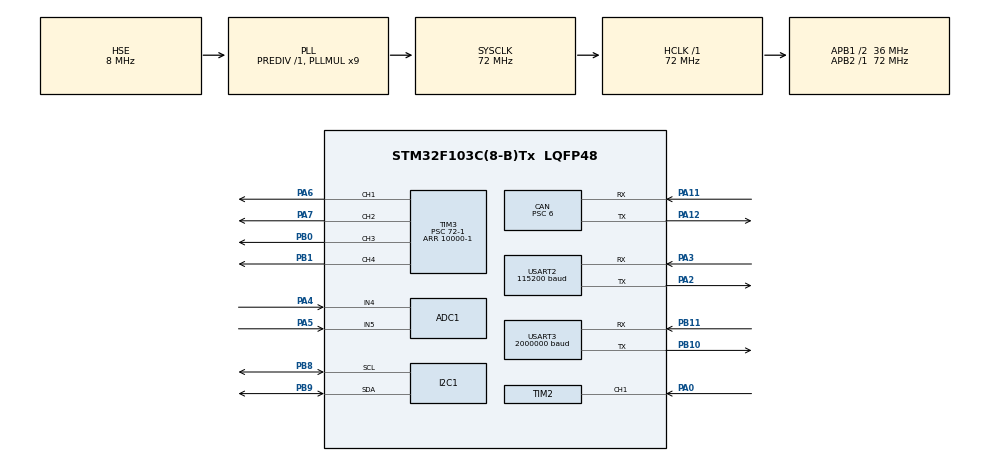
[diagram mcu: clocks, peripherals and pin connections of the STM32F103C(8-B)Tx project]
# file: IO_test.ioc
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ADC1.Channel-0\#ChannelRegularConversion=ADC_CHANNEL_4
ADC1.Channel-1\#ChannelRegularConversion=ADC_CHANNEL_5
ADC1.ContinuousConvMode=ENABLE
ADC1.NbrOfConversion=2
ADC1.NbrOfConversionFlag=1
ADC1.Rank-0\#ChannelRegularConversion=1
ADC1.Rank-1\#ChannelRegularConversion=2
ADC1.SamplingTime-0\#ChannelRegularConversion=ADC_SAMPLETIME_71CYCLES_5
ADC1.SamplingTime-1\#ChannelRegularConversion=ADC_SAMPLETIME_71CYCLES_5
ADC1.master=1
CAN.BS1=CAN_BS1_5TQ
CAN.BS2=CAN_BS2_6TQ
CAN.CalculateTimeBit=2000
CAN.CalculateTimeQuantum=166.66666666666669
CAN.Prescaler=6
Dma.ADC1.0.Direction=DMA_PERIPH_TO_MEMORY
Dma.ADC1.0.Instance=DMA1_Channel1
Dma.ADC1.0.MemDataAlignment=DMA_MDATAALIGN_WORD
Dma.ADC1.0.MemInc=DMA_MINC_ENABLE
Dma.ADC1.0.Mode=DMA_CIRCULAR
Dma.ADC1.0.PeriphDataAlignment=DMA_PDATAALIGN_WORD
Dma.ADC1.0.PeriphInc=DMA_PINC_DISABLE
Dma.ADC1.0.Priority=DMA_PRIORITY_LOW
Dma.Request0=ADC1
Mcu.Family=STM32F1
Mcu.Name=STM32F103C(8-B)Tx
Mcu.Package=LQFP48
NVIC.DMA1_Channel1_IRQn=true\:0\:0\:false\:false\:true\:false\:true
NVIC.PriorityGroup=NVIC_PRIORITYGROUP_4
NVIC.TIM2_IRQn=true\:0\:0\:false\:false\:true\:true\:true
NVIC.TIM3_IRQn=true\:0\:0\:false\:false\:true\:true\:true
NVIC.USB_LP_CAN1_RX0_IRQn=true\:0\:0\:false\:false\:true\:true\:true
PA0-WKUP.Signal=S_TIM2_CH1_ETR
PA11.Mode=Master
PA11.Signal=CAN_RX
PA12.Mode=Master
PA12.Signal=CAN_TX
PA13.Mode=Serial_Wire
PA13.Signal=SYS_JTMS-SWDIO
PA14.Mode=Serial_Wire
PA14.Signal=SYS_JTCK-SWCLK
PA2.Mode=Asynchronous
PA2.Signal=USART2_TX
PA3.Mode=Asynchronous
PA3.Signal=USART2_RX
PA4.Signal=ADCx_IN4
PA5.Signal=ADCx_IN5
PA6.Signal=S_TIM3_CH1
PA7.Signal=S_TIM3_CH2
PB0.Signal=S_TIM3_CH3
PB1.Signal=S_TIM3_CH4
PB10.Mode=Asynchronous
PB10.Signal=USART3_TX
PB11.Mode=Asynchronous
PB11.Signal=USART3_RX
PB8.Mode=I2C
PB8.Signal=I2C1_SCL
PB9.Mode=I2C
PB9.Signal=I2C1_SDA
PD0-OSC_IN.Mode=HSE-External-Oscillator
PD0-OSC_IN.Signal=RCC_OSC_IN
PD1-OSC_OUT.Mode=HSE-External-Oscillator
PD1-OSC_OUT.Signal=RCC_OSC_OUT
ProjectManager.HeapSize=0x200
ProjectManager.StackSize=0x400
ProjectManager.TargetToolchain=STM32CubeIDE
RCC.ADCPresc=RCC_ADCPCLK2_DIV6
RCC.AHBFreq_Value=72000000
RCC.APB1CLKDivider=RCC_HCLK_DIV2
RCC.APB1Freq_Value=36000000
RCC.APB1TimFreq_Value=72000000
RCC.APB2Freq_Value=72000000
RCC.APB2TimFreq_Value=72000000
RCC.HCLKFreq_Value=72000000
RCC.PLLMUL=RCC_PLL_MUL9
RCC.PLLSourceVirtual=RCC_PLLSOURCE_HSE
RCC.SYSCLKFreq_VALUE=72000000
RCC.SYSCLKSource=RCC_SYSCLKSOURCE_PLLCLK
RCC.USBFreq_Value=72000000
SH.ADCx_IN4.0=ADC1_IN4,IN4
SH.ADCx_IN5.0=ADC1_IN5,IN5
SH.S_TIM2_CH1_ETR.0=TIM2_CH1,Input_Capture1_from_TI1
SH.S_TIM3_CH1.0=TIM3_CH1,PWM Generation1 CH1
SH.S_TIM3_CH2.0=TIM3_CH2,PWM Generation2 CH2
SH.S_TIM3_CH3.0=TIM3_CH3,PWM Generation3 CH3
SH.S_TIM3_CH4.0=TIM3_CH4,PWM Generation4 CH4
TIM2.Channel-Input_Capture1_from_TI1=TIM_CHANNEL_1
TIM2.Period=0xffff
TIM2.Prescaler=72-1
TIM3.Channel-PWM\ Generation1\ CH1=TIM_CHANNEL_1
TIM3.Channel-PWM\ Generation2\ CH2=TIM_CHANNEL_2
TIM3.Channel-PWM\ Generation3\ CH3=TIM_CHANNEL_3
TIM3.Channel-PWM\ Generation4\ CH4=TIM_CHANNEL_4
TIM3.Period=10000-1
TIM3.Prescaler=72-1
TIM3.Pulse-PWM\ Generation1\ CH1=1500
TIM3.Pulse-PWM\ Generation2\ CH2=1500
TIM3.Pulse-PWM\ Generation3\ CH3=1000
TIM3.Pulse-PWM\ Generation4\ CH4=1000
USART2.BaudRate=115200
USART2.VirtualMode=VM_ASYNC
USART2.WordLength=WORDLENGTH_8B
USART3.BaudRate=2000000
USART3.VirtualMode=VM_ASYNC
VP_TIM2_VS_ClockSourceINT.Mode=Internal
VP_TIM3_VS_ClockSourceINT.Mode=Internal
board=custom

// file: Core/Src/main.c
/* USER CODE BEGIN Header */
/**
  ******************************************************************************
  * @file           : main.c
  * @brief          : Main program body
  ******************************************************************************
  * @attention
  *
  * <h2><center>&copy; Copyright (c) 2020 STMicroelectronics.
  * All rights reserved.</center></h2>
  *
  * This software component is licensed by ST under BSD 3-Clause license,
  * the "License"; You may not use this file except in compliance with the
  * License. You may obtain a copy of the License at:
  *                        opensource.org/licenses/BSD-3-Clause
  *
  ******************************************************************************
  */
/* USER CODE END Header */

#include "main.h"

/* USER CODE BEGIN Includes */
#include <string.h>
#include <stdio.h>
#include <math.h> // for pow function
#include <stdlib.h>// for abs function

/* USER CODE BEGIN 0 */

/* USER CODE END 0 */

/* USER CODE END Includes */

ADC_HandleTypeDef hadc1;
DMA_HandleTypeDef hdma_adc1;

CAN_HandleTypeDef hcan;

I2C_HandleTypeDef hi2c1;

TIM_HandleTypeDef htim2;
TIM_HandleTypeDef htim3;

UART_HandleTypeDef huart2;
UART_HandleTypeDef huart3;

/* USER CODE BEGIN PV */
CAN_FilterTypeDef sFilterConfig;
CAN_TxHeaderTypeDef pHeader;
CAN_RxHeaderTypeDef pRxHeader;

uint8_t aData[8] = {40, 41, 42, 43, 44, 45, 46, 47};
uint8_t rxData[8];
uint32_t pTxMailbox;
uint8_t error_code[8];

// 0x101 gneral control can1 rx
int16_t 		str_ang = 0;
uint8_t 		brk_ctrl = 0;
uint8_t 		thr_ctrl = 0;
uint8_t 		driving_mode = 0;
uint8_t 		target_gear = 0;
uint8_t 		shift_enable = 0;
uint8_t 		thr_enable = 0;
uint8_t 		brk_enable = 0;
uint8_t 		str_enable = 0;
int8_t          HWA_Diff_Ctrl = 0;
uint8_t         esp_mode = 0;

// value to store ADC
uint32_t		adc_reading[2];
float 			joystick_x = 0;
float           joystick_x_val;
float           x_mid_val;
float           x_max_val=0.30f;
float           x_min_val=0.30f;
int16_t         hwa_limit = 500;//units
int16_t         servo_out;
int16_t         servo_out_midpt = 1415;
int16_t         hwa_out = 0;
float           joystick_dead_band = 0.02;

float 			joystick_y = 0;
float 			joystick_y_val;
float 			y_mid_val;
float 			y_max_val = 0.30f;
float 			y_min_val = 0.30f;
int16_t 	    acc_limit = 500;
int16_t 		servo2_out;
int16_t         servo2_midpt = 1500;
int16_t 		servo2_out = 0;

//value for system time
uint16_t		sys_time_up;
uint32_t 		sys_time_ms;
uint32_t        current_time = 0;
uint32_t        hwa_out_zero_time = 0;
uint8_t         str_over_ride = 1;
uint32_t        received_0x101_time = 0;
uint8_t         receive_0x101_timeout = 1;
/* USER CODE END PV */

void SystemClock_Config(void);
static void MX_GPIO_Init(void);
static void MX_DMA_Init(void);
static void MX_CAN_Init(void);
static void MX_ADC1_Init(void);
static void MX_USART2_UART_Init(void);
static void MX_TIM2_Init(void);
static void MX_TIM3_Init(void);
static void MX_USART3_UART_Init(void);
static void MX_I2C1_Init(void);
/* USER CODE BEGIN PFP */
#ifdef __GNUC__

#define PUTCHAR_PROTOTYPE int __io_putchar(int ch)

PUTCHAR_PROTOTYPE
{

  //HAL_UART_Transmit(&huart2, (uint8_t*)&ch, 1, HAL_MAX_DELAY);
  HAL_UART_Transmit(&huart3, (uint8_t*)&ch, 1, HAL_MAX_DELAY);

  return ch;
}
#endif

void Read_joystick(){
	joystick_x = (float) adc_reading[0]/4096;
    joystick_x_val = joystick_x - x_mid_val;
        if(joystick_x_val > 0) {
            if(joystick_x_val > x_max_val) {
                x_max_val = joystick_x_val;
            }
            joystick_x_val = joystick_x_val/x_max_val;
            if(joystick_x_val>1.0f) {
                joystick_x_val = 1.0f;
            }
            joystick_x_val = pow(joystick_x_val,1.5f);
        } else {
            if(-joystick_x_val > x_min_val) {
                x_min_val = -joystick_x_val;
            }
            joystick_x_val = joystick_x_val/x_min_val;
            if(joystick_x_val<-1.0f) {
                joystick_x_val = -1.0f;
            }
            joystick_x_val = -pow(-joystick_x_val,1.5f);
        }

        if (fabs(joystick_x_val) > joystick_dead_band) { //steering out put
            hwa_out = joystick_x_val*hwa_limit;
        } else {
            hwa_out = 0;
        }

        if (str_over_ride || receive_0x101_timeout){
            servo_out = servo_out_midpt+hwa_out;
        }else{
            if (str_enable && esp_mode){
                servo_out = servo_out_midpt+HWA_Diff_Ctrl*4;
            }else{
                servo_out = servo_out_midpt+hwa_out;
            }
        }
        htim3.Instance ->CCR1 = servo_out;

        joystick_y = (float) adc_reading[1]/4096;
        joystick_y_val = joystick_y - y_mid_val;
        if(joystick_y_val > 0) {
        	if(joystick_y_val > y_max_val) {
        		y_max_val = joystick_y_val;
            }
            joystick_y_val = joystick_y_val/y_max_val;
            if(joystick_y_val>1.0f) {
            	joystick_y_val = 1.0f;
            }
            joystick_y_val = pow(joystick_y_val,1.5f);
        } else {
        	if(-joystick_y_val > y_min_val) {
          		y_min_val = -joystick_y_val;
            }
            joystick_y_val = joystick_y_val/y_min_val;
            if(joystick_y_val<-1.0f) {
            	joystick_y_val = -1.0f;
            }
            joystick_y_val = -pow(-joystick_y_val,1.5f);
        }

        if (fabs(joystick_y_val) > joystick_dead_band) { //steering out put
          	servo2_out = servo2_midpt + joystick_y_val*acc_limit;
        } else {
          	servo2_out = servo2_midpt;
        }

        htim3.Instance ->CCR2 = servo2_out;

        //printf("adc0: %i adc1:%i\r\n",servo_out,servo2_out);
        //printf("sys_time_ms:%i\r\n",sys_time_ms);

}

void joystick_init(void){
	printf("calibrating middle point\n");
	//printf("adc_read: %i %i\r\n", adc_reading[0], adc_reading[1]);
	for(int i=0; i<100; i++) {
		joystick_x = (float) adc_reading[0]/4096;
		joystick_y = (float) adc_reading[1]/4096;
	    x_mid_val = x_mid_val*0.8f + joystick_x*0.2f;
	    y_mid_val = y_mid_val*0.8f + joystick_y*0.2f;
	    HAL_Delay(10);
	}
	printf("mid_x:%.4f mid_y:%.4f \n",x_mid_val,y_mid_val);
}

void CAN_BUS_init(void){
	// can bus filter setting
	pHeader.DLC = 8;
	pHeader.IDE = CAN_ID_STD;
	pHeader.RTR = CAN_RTR_DATA;
	pHeader.StdId = 0x321;

	sFilterConfig.FilterFIFOAssignment=CAN_FILTER_FIFO0;
	sFilterConfig.FilterIdHigh=0x245<<5;
	sFilterConfig.FilterIdLow=0;
	sFilterConfig.FilterMaskIdHigh=0;
	sFilterConfig.FilterMaskIdLow=0;
	sFilterConfig.FilterScale=CAN_FILTERSCALE_32BIT;
	sFilterConfig.FilterActivation=CAN_FILTER_ENABLE;

	HAL_CAN_ConfigFilter(&hcan, &sFilterConfig);
    HAL_CAN_Start(&hcan);
	HAL_CAN_ActivateNotification(&hcan, CAN_IT_RX_FIFO0_MSG_PENDING);
	HAL_CAN_AddTxMessage(&hcan, &pHeader, aData, &pTxMailbox);
	  //while(HAL_CAN_IsTxMessagePending(&hcan, &pTxMailbox));
}

// PPM_IN SIGNAL READ find time between two rising edges
int32_t		ic_value1 = 0;
int32_t 	ic_value2 = 0;
int32_t 	ic_value_difference = 0;
uint16_t 	channel_pulse[8] = {0,0,0,0,0,0,0,0};
uint8_t		channel_number = 0;
void HAL_TIM_IC_CaptureCallback(TIM_HandleTypeDef *htim){
	if(htim->Channel == HAL_TIM_ACTIVE_CHANNEL_1){ // if the source is channel 1

		ic_value2 = HAL_TIM_ReadCapturedValue(htim, TIM_CHANNEL_1);
		ic_value_difference = ic_value2-ic_value1;
		ic_value1 = ic_value2;

		if (ic_value2 > ic_value1){
			ic_value_difference = ic_value2-ic_value1;
		}
		else if(ic_value2 < ic_value1){// you know
			ic_value_difference = ((0xffff-ic_value1)+ic_value2)+1;
		}
		else{
			//printf("PPM_error\n\r");
			Error_Handler();
		}
			// process captured time
		if (ic_value_difference > 6000){
			channel_number = 0;
			//printf("%i %i %i %i %i %i %i %i\r\n",channel_pulse[0],channel_pulse[1],channel_pulse[2],channel_pulse[3],channel_pulse[4],channel_pulse[5],channel_pulse[6],channel_pulse[7]);
			//printf("%i\r\n", channel_pulse[0]);
		}else if(ic_value_difference > 800){
			if(channel_number<9){
				channel_pulse[channel_number] = ic_value_difference;
				channel_number ++;
			}
		}else{
			channel_number ++;
		}
	}
}

// MPU6050IMU
int16_t 	Accel_X_RAW;
int16_t 	Accel_Y_RAW;
int16_t 	Accel_Z_RAW;
int16_t 	Gyro_X_RAW;
int16_t 	Gyro_Y_RAW;
int16_t 	Gyro_Z_RAW;
float 		Accel_X_CAL,Accel_Y_CAL,Accel_Z_CAL,Gyro_X_CAL,Gyro_Y_CAL,Gyro_Z_CAL;
float 		Ax,Ay,Az,Gx,Gy,Gz,pitch_a,roll_a,yaw_a,pitch_est,roll_est,yaw_est,pitch_ino,roll_ino,yaw_ino;
int			mpu6050_ini = 0;
float 		deg2rad = 0.0174532925199433;
float 		rad2deg = 57.2957795130823;
float		delta_time = 0.01;
float 		pitch_est_rad,roll_est_rad,yaw_est_rad,sin_roll,cos_roll,sin_pitch,cos_pitch,pitch_a_rad,roll_a_rad;
float 		Gz_rad, Gx_rad, Gy_rad;
#define MPU6050_ADDR 0xD0
#define SMPLRT_DIV_REG 0x19
#define CONFIG_REG 0x1A
#define GYRO_CONFIG_REG 0x1B
#define ACCEL_CONFIG_REG 0x1C
#define ACCEL_XOUT_H_REG 0x3B
#define TEMP_OUT_H_REG 0x41
#define GYRO_XOUT_H_REG 0x43
#define PWR_MGMT_1_REG 0x6B
#define WHO_AM_I_REG 0x75

void MPU6050_Read_Accel(void){
	uint8_t Rec_Data[6];
	//Read 6 byte of data starting from accel_xout_h register
	HAL_I2C_Mem_Read(&hi2c1, MPU6050_ADDR, ACCEL_XOUT_H_REG, 1, Rec_Data, 6, 1000);
	Accel_X_RAW = (int16_t)(Rec_Data[0] << 8 | Rec_Data[1]);
	Accel_Y_RAW = (int16_t)(Rec_Data[2] << 8 | Rec_Data[3]);
	Accel_Z_RAW = (int16_t)(Rec_Data[4] << 8 | Rec_Data[5]);
	Ax = (float)Accel_X_RAW/4096.0;
	Ay = (float)Accel_Y_RAW/4096.0;
	Az = (float)Accel_Z_RAW/4096.0;
}
void MPU6050_Read_Gyro(void){
	uint8_t Rec_Data[6];
	//Read 6 byte of data starting from accel_xout_h register
	HAL_I2C_Mem_Read(&hi2c1, MPU6050_ADDR, GYRO_XOUT_H_REG, 1, Rec_Data, 6, 1000);
	Gyro_X_RAW = (int16_t)(Rec_Data[0] << 8 | Rec_Data[1]);
	Gyro_Y_RAW = (int16_t)(Rec_Data[2] << 8 | Rec_Data[3]);
	Gyro_Z_RAW = (int16_t)(Rec_Data[4] << 8 | Rec_Data[5]);
	Gx = (float)Gyro_X_RAW/65.5;
	Gy = (float)Gyro_Y_RAW/65.5;
	Gz = (float)Gyro_Z_RAW/65.5;
}

void MPU6050_Init(void ){//MPU6050_START
	uint8_t check, Data;
	//check device ID WHO_AM_I
	HAL_I2C_Mem_Read(&hi2c1, MPU6050_ADDR, WHO_AM_I_REG, 1, &check, 1, 1000);
	if (check == 104){
		printf("mpu6050 check passed! \r\n");
		printf("reset mpu6050...\r\n");
		Data = 0x80;// power management register 0x6b we should write 0x80 to reset the sensor
		HAL_I2C_Mem_Write(&hi2c1, MPU6050_ADDR, PWR_MGMT_1_REG, 1, &Data, 1, 1000);
		HAL_Delay(100);

		printf("set clock to 8khz and wake up mpu6050...\r\n");
		Data = 0;// power management register 0x6b we should write all 0's to wake the sensor up
		HAL_I2C_Mem_Write(&hi2c1, MPU6050_ADDR, PWR_MGMT_1_REG, 1, &Data, 1, 1000);
		HAL_Delay(100);

		// set low pass filter
		printf("set low pass filter on mpu6050...\r\n");
		Data = 0x01; //Bandwidth(Hz) 0=260A_256G 1=184A_188G 2=94A_98G 3=44A_42G 4=21A_20G 5=10A_10G 6=5A_5G
		HAL_I2C_Mem_Write(&hi2c1, MPU6050_ADDR, CONFIG_REG, 1, &Data, 1, 1000);

		// set data rate of 8khz by writing SMPLRT_DIV register
		printf("set sample rate to 8khz on mpu6050...\r\n");
		Data = 0x00; // 7=1khz  0=8khz
		HAL_I2C_Mem_Write(&hi2c1, MPU6050_ADDR, SMPLRT_DIV_REG, 1, &Data, 1, 1000);

		printf("set accelerometer to 8g on mpu6050...\r\n");
		// set accelerometer configuration in ACCEL_CONFIG Register
		// XA_ST=0, YA_ST=0, ZA_ST=0, FS_SEL=0 -> +/- 2g , 10 = 8g
		Data = 0x10;
		HAL_I2C_Mem_Write(&hi2c1, MPU6050_ADDR, ACCEL_CONFIG_REG, 1, &Data, 1, 1000);

		printf("set gyroscope to 500deg/sec on mpu6050...\r\n");
		// set Gyroscopic configuration in GYRO_CONFIG Register
		// XG_ST,YG_ST,ZG_ST=0, FS_SEL=0 -> +/- 250 Deg/s , 8=500deg/s
		Data = 0x08;
		HAL_I2C_Mem_Write(&hi2c1, MPU6050_ADDR, GYRO_CONFIG_REG, 1, &Data, 1, 1000);

		printf("calibrating IMU in 2...\r\n");
		HAL_Delay(1000);
		printf("calibrating IMU in 1...\r\n");
		HAL_Delay(1000);
		printf("calibrating IMU in 0...\r\n");
		printf("start calibration ... \r\n");

		for(int i=0; i<2000; i++){
			MPU6050_Read_Accel();
			MPU6050_Read_Gyro();
			Accel_X_CAL += Ax;
			Accel_Y_CAL += Ay;
			Accel_Z_CAL += Az;
			Gyro_X_CAL += Gx;
			Gyro_Y_CAL += Gy;
			Gyro_Z_CAL += Gz;
			HAL_Delay(1);
		}
		Accel_X_CAL /= 2000;
	    Accel_Y_CAL /= 2000;
	    Accel_Z_CAL /= 2000;
	    Gyro_X_CAL /= 2000;
	    Gyro_Y_CAL /= 2000;
	    Gyro_Z_CAL /= 2000;

	    printf("calibration finished! \r\n");
	    printf("ax:%f ay:%f az:%f gx:%f gy:%f gz:%f\r\n",Accel_X_CAL,Accel_Y_CAL,Accel_Z_CAL,Gyro_X_CAL,Gyro_Y_CAL,Gyro_Z_CAL);

//	    pitch_est = -atan2(Accel_X_CAL,Accel_Z_CAL)*rad2deg;
//	    roll_est = atan2(Accel_Y_CAL,Accel_Z_CAL)*rad2deg;
//	    pitch_est_rad = -atan2(Accel_X_CAL,Accel_Z_CAL);
//	    roll_est_rad = atan2(Accel_Y_CAL,Accel_Z_CAL);

	    pitch_est_rad = -atan(Accel_X_CAL/sqrt(Accel_Z_CAL*Accel_Z_CAL + Accel_Y_CAL*Accel_Y_CAL));
	    roll_est_rad = atan(Accel_Y_CAL/sqrt(Accel_Z_CAL*Accel_Z_CAL + Accel_X_CAL*Accel_X_CAL));

	    yaw_est_rad = 0;

	    pitch_est = pitch_est_rad*rad2deg;
	    roll_est = roll_est_rad*rad2deg;
	    yaw_est = yaw_est_rad*rad2deg;

	    printf("PE:%f PR:%f\r\n",pitch_est,roll_est);

		mpu6050_ini = 1;
	}else{
		printf("problem checking mpu6050 \r\n");
		mpu6050_ini = 0;
	}
}
// ducted drone output
int16_t		pitch_input,yaw_input,throttle_input,roll_input;
int16_t   	fin_left_out, fin_right_out, motor_left_out, motor_right_out;
int16_t		fin_left_trim = -25;
int16_t 	fin_right_trim = -25;

// gain for dual
/*
int16_t 	throttle_idel = 1100;
float 		gain_yaw_p = -1;
float 		gain_yaw_d = 1;
float 		gain_pitch_p = -2.5;
float 		gain_pitch_d = 2.5;
float 		gain_roll_p = 7.5;
float 		gain_roll_d = -1;
*/

// gain for quad
int16_t 	throttle_idel = 1200;
float 		gain_yaw_p = -3.0;
float 		gain_yaw_d = 1.25;
float 		gain_pitch_p = -1.20;
float 		gain_pitch_d = 1.25;
float 		gain_roll_p = 1.20;
float 		gain_roll_d = -1.25;

int16_t 	yaw_ctrl, pitch_ctrl, roll_ctrl;
float 		yaw_tar,pitch_tar,roll_tar;
float 		yaw_err,pitch_err,roll_err;

void Drone_Control_duel(void){//DRONE_CONTROL

	pitch_input = channel_pulse[2]-1500;
	yaw_input = -channel_pulse[3] + 1500;
	throttle_input = channel_pulse[0];
	roll_input = channel_pulse[1] - 1500;

	pitch_tar = (float) pitch_input/10;
	roll_tar = (float) roll_input/10;
	if (abs(yaw_input)>100)
		yaw_tar += (float) yaw_input/1000;
	if (yaw_tar < -180)
		yaw_tar += 360;
	if (yaw_tar > 180)
		yaw_tar -= 360;

	yaw_err = yaw_tar - yaw_est;
	// course difference
	yaw_err = fmod(yaw_err,360);
	if (yaw_err < -180)
		yaw_err += 360;

	if (yaw_err > 180)
		yaw_err -= 360;

	pitch_err = pitch_tar - pitch_est;
	roll_err = roll_tar - roll_est;

	yaw_ctrl = (int16_t) (Gz*gain_yaw_d + yaw_err*gain_yaw_p);
	pitch_ctrl = (int16_t) (pitch_err * gain_pitch_p + Gy*gain_pitch_d);
	roll_ctrl = (int16_t) (roll_err*gain_roll_p + Gx*gain_roll_d);

	fin_left_out = 1500 + pitch_ctrl - fin_left_trim + yaw_ctrl;
	fin_right_out = 1500 - pitch_ctrl + fin_right_trim + yaw_ctrl;

	if (fin_left_out>2000)
		fin_left_out = 2000;
	if (fin_left_out<1000)
		fin_left_out = 1000;
	if (fin_right_out > 2000)
		fin_right_out = 2000;
	if (fin_right_out < 1000)
		fin_right_out =1000;

	motor_left_out = throttle_input - roll_ctrl;
	motor_right_out = throttle_input + roll_ctrl;

	if (channel_pulse[4] > 1600){
		if (motor_left_out>2000)
			motor_left_out = 2000;
		if (motor_left_out<throttle_idel)
			motor_left_out = throttle_idel;
		if (motor_right_out > 2000)
			motor_right_out = 2000;
		if (motor_right_out < throttle_idel)
			motor_right_out =throttle_idel;
	}else{
		motor_left_out = 1000;
		motor_right_out =1000;
	}

	htim3.Instance ->CCR1 = fin_left_out;
	htim3.Instance ->CCR2 = fin_right_out;
	htim3.Instance ->CCR3 = motor_left_out;
	htim3.Instance ->CCR4 = motor_right_out;

	//printf("ML:%i,MR:%i\r\n",motor_left_out,motor_right_out);
	//printf("pt:%i pr:%i p%i\r\n", (int16_t)pitch_tar, (int16_t)pitch_err, (int16_t)pitch_est);
	//printf("yi:%i yt:%i ti:%i\r\n",yaw_input,(int16_t)yaw_tar,throttle_input);
	//printf("yt:%i y:%i ye:%i\r\n",(int16_t)yaw_tar,(int16_t)yaw_est,(int16_t)yaw_err);
	//printf("pt:%.2f rt:%.2f yt:%.2f\r\n", pitch_tar, roll_tar, yaw_tar);
	//printf("pi:%i ri:%i yi:%i\r\n", pitch_input, roll_input, yaw_input);
	//printf("yc:%i pc:%i rc:%i\r\n",yaw_ctrl, pitch_ctrl, roll_ctrl);
	//printf("ti:%i ri:%i\r\n",channel_pulse[0], channel_pulse[1]);
	//printf("pi:%i yi:%i Pi:%.2f Ro:%.2f Gy:%.2f Gx:%.2f Gz:%f\r\n",channel_pulse[2], channel_pulse[3],pitch_est,roll_est,Gy,Gx,Gz);
	//printf("pi:%i yi:%i\r\n",channel_pulse[2], channel_pulse[3]);
	//printf("Ro:%.2f Gy:%.2f Gx:%.2f Gy:%.2f Gz:%f\r\n",pitch_est,roll_est,Gy,Gx,Gz);
	//printf("Ro:%.2f Gy:%.2f\r\n",pitch_est,roll_est);
	//printf("Gx:%.2f Gy:%.2f Gz:%f\r\n",Gy,Gx,Gz);
	//printf("pi:%i yi:%i Pi:%.2f Ro:%.2f\r\n",channel_pulse[2], channel_pulse[3],pitch_est,roll_est);

	//printf("PE:%.2f RE:%.2f\r\n", pitch_est, roll_est);
	//htim3.Instance ->CCR3 = pitch_input;
	//htim3.Instance ->CCR4 = pitch_input;
}
int16_t   	motor_quad_1, motor_quad_2, motor_quad_3, motor_quad_4;

void Drone_Control_quad(void){//DRONE_CONTROL
	// FR SKY
	pitch_input = channel_pulse[2]-1500;
	yaw_input = -channel_pulse[3] + 1500;
	throttle_input = channel_pulse[0];
	roll_input = channel_pulse[1] - 1500;

	// FS
	//pitch_input = channel_pulse[1]-1500;
	//yaw_input = -channel_pulse[3] + 1500;
	//throttle_input = channel_pulse[2];
	//roll_input = channel_pulse[0] - 1500;

	pitch_tar = (float) pitch_input/10;
	roll_tar = (float) roll_input/10;
	if (abs(yaw_input)>100)
		yaw_tar += (float) yaw_input/1000;
	if (yaw_tar < -180)
		yaw_tar += 360;
	if (yaw_tar > 180)
		yaw_tar -= 360;

	yaw_err = yaw_tar - yaw_est;
	// course difference
	yaw_err = fmod(yaw_err,360);
	if (yaw_err < -180)
		yaw_err += 360;

	if (yaw_err > 180)
		yaw_err -= 360;

	pitch_err = pitch_tar - pitch_est;
	roll_err = roll_tar - roll_est;

	yaw_ctrl = (int16_t) (Gz*gain_yaw_d + yaw_err*gain_yaw_p);
	pitch_ctrl = (int16_t) (pitch_err * gain_pitch_p + Gy*gain_pitch_d);
	roll_ctrl = (int16_t) (roll_err*gain_roll_p + Gx*gain_roll_d);

	motor_quad_1 = throttle_input + pitch_ctrl + roll_ctrl - yaw_ctrl;
	motor_quad_2 = throttle_input + pitch_ctrl - roll_ctrl + yaw_ctrl;
	motor_quad_3 = throttle_input - pitch_ctrl - roll_ctrl - yaw_ctrl;
	motor_quad_4 = throttle_input - pitch_ctrl + roll_ctrl + yaw_ctrl;

	if (channel_pulse[4] > 1600){
		if (motor_quad_1>2000)
			motor_quad_1 = 2000;
		if (motor_quad_1<throttle_idel)
			motor_quad_1 = throttle_idel;
		if (motor_quad_2 > 2000)
			motor_quad_2 = 2000;
		if (motor_quad_2 < throttle_idel)
			motor_quad_2 =throttle_idel;
		if (motor_quad_3 > 2000)
			motor_quad_3 = 2000;
		if (motor_quad_3 < throttle_idel)
			motor_quad_3 =throttle_idel;
		if (motor_quad_4 > 2000)
			motor_quad_4 = 2000;
		if (motor_quad_4 < throttle_idel)
			motor_quad_4 =throttle_idel;
	}else{
		yaw_tar = yaw_est;
		motor_quad_1 = 1000;
		motor_quad_2 = 1000;
		motor_quad_3 = 1000;
		motor_quad_4 = 1000;
	}

	htim3.Instance ->CCR1 = motor_quad_1;
	htim3.Instance ->CCR2 = motor_quad_2;
	htim3.Instance ->CCR3 = motor_quad_3;
	htim3.Instance ->CCR4 = motor_quad_4;

	//printf("Ti:%i Ri:%i Pi:%i Yi:%i Sw%i\r\n", throttle_input, roll_input, pitch_input, yaw_input,channel_pulse[4]);

	//printf("ML:%i,MR:%i\r\n",motor_left_out,motor_right_out);
	//printf("pt:%i pr:%i p%i\r\n", (int16_t)pitch_tar, (int16_t)pitch_err, (int16_t)pitch_est);
	//printf("yi:%i yt:%i ti:%i\r\n",yaw_input,(int16_t)yaw_tar,throttle_input);
	//printf("yt:%i y:%i ye:%i\r\n",(int16_t)yaw_tar,(int16_t)yaw_est,(int16_t)yaw_err);
	//printf("pt:%.2f rt:%.2f yt:%.2f\r\n", pitch_tar, roll_tar, yaw_tar);
	//printf("pi:%i ri:%i yi:%i\r\n", pitch_input, roll_input, yaw_input);
	//printf("yc:%i pc:%i rc:%i\r\n",yaw_ctrl, pitch_ctrl, roll_ctrl);
	//printf("ti:%i ri:%i\r\n",channel_pulse[0], channel_pulse[1]);
	//printf("pi:%i yi:%i Pi:%.2f Ro:%.2f Gy:%.2f Gx:%.2f Gz:%f\r\n",channel_pulse[2], channel_pulse[3],pitch_est,roll_est,Gy,Gx,Gz);
	//printf("pi:%i yi:%i\r\n",channel_pulse[2], channel_pulse[3]);
	//printf("Ro:%.2f Gy:%.2f Gx:%.2f Gy:%.2f Gz:%f\r\n",pitch_est,roll_est,Gy,Gx,Gz);
	//printf("Ro:%.2f Gy:%.2f\r\n",pitch_est,roll_est);
	//printf("Gx:%.2f Gy:%.2f Gz:%f\r\n",Gy,Gx,Gz);
	//printf("pi:%i yi:%i Pi:%.2f Ro:%.2f\r\n",channel_pulse[2], channel_pulse[3],pitch_est,roll_est);

	//printf("PE:%.2f RE:%.2f\r\n", pitch_est, roll_est);
	//htim3.Instance ->CCR3 = pitch_input;
	//htim3.Instance ->CCR4 = pitch_input;
}

#define TFLUNA_ADDR 0x20
#define TFLUNA_DIST_LOW 0x00
#define TFLUNA_DIST_HIGH 0x01
#define TFLUNA_AMP_LOW 0x02
#define TFLUNA_AMP_HIGH 0x03
#define TFLUNA_TEMP_LOW 0x00
#define TFLUNA_TEMP_HIGH 0x00

uint8_t 	dist_low = 0;
uint8_t 	dist_high = 0;
uint16_t 	dist_tfluna = 0;
uint32_t 	dist_measure_devider = 50;
//uint16_t 	dist_tfluna_1 = 0;
float 		dist_spd = 0;
uint32_t 	prev_time_tf = 0;
uint32_t 	delta_time_tf = 0;
float	 	delta_dist = 0;
float 		dist_spd_lowpass = 0;
float 		dist_tfluna_f = 0;
float 		dist_tfluna_f1 = 0;
int			tf_luna_ini = 0;

void ReadTF_Luna_init(void){
	HAL_I2C_Mem_Read(&hi2c1, TFLUNA_ADDR, TFLUNA_DIST_LOW, 1, &dist_low, 1, 1000);
	HAL_I2C_Mem_Read(&hi2c1, TFLUNA_ADDR, TFLUNA_DIST_HIGH, 1, &dist_high, 1, 1000);
	dist_tfluna = (uint16_t)dist_high<<8 | (dist_low);
	dist_tfluna_f1 = (float)dist_tfluna/100;
	if(dist_tfluna != 0)
		tf_luna_ini = 1;
	printf("TF_Luna initialization complete: %.2f \r\n", dist_tfluna_f1);
}

void ReadTF_Luna(void){
	delta_time_tf = sys_time_ms - prev_time_tf;
	HAL_I2C_Mem_Read(&hi2c1, TFLUNA_ADDR, TFLUNA_DIST_LOW, 1, &dist_low, 1, 1000);
	HAL_I2C_Mem_Read(&hi2c1, TFLUNA_ADDR, TFLUNA_DIST_HIGH, 1, &dist_high, 1, 1000);
	dist_tfluna = (uint16_t)dist_high<<8 | (dist_low);
	dist_tfluna_f = (float)dist_tfluna/100;
	//printf("Dis:%i Lo:%i Hi:%i\r\n",dist_tfluna,dist_low,dist_high);
	delta_dist = (dist_tfluna_f - dist_tfluna_f1);
	dist_spd = delta_dist/(float)delta_time_tf*1000;
	dist_spd_lowpass = dist_spd_lowpass*0.9 + dist_spd*0.1;
	//printf("d:%.2f s1:%.2f\r\n",dist_tfluna_f,dist_spd_lowpass);
	//printf("d:%.2f s:%.2f s1:%.2f\r\n",dist_tfluna_f,dist_spd,dist_spd_lowpass);
	//printf("Dis:%i Spd:%.2f\r\n",dist_tfluna,dist_spd);
	prev_time_tf = sys_time_ms;
	dist_tfluna_f1 = dist_tfluna_f;
}

/*
#define VL53L1_ADDR 							0x52// 0x29
#define VL53L1_IDENTIFICATION__MODEL_ID			0x010F

int VL53L1_Write(uint8_t *pdata, uint32_t count) {
    int status;

    status = HAL_I2C_Master_Transmit(&hi2c1, VL53L1_ADDR, pdata, count, 1000);
    if (status) {
        //VL6180x_ErrLog("I2C error 0x%x %d len", dev->I2cAddr, len);
        //XNUCLEO6180XA1_I2C1_Init(&hi2c1);
    }
    return status;
}

int VL53L1_Read(uint8_t *pdata, uint32_t count) {
    int status;

    status = HAL_I2C_Master_Receive(&hi2c1, VL53L1_ADDR|1, pdata, count, 1000);
    if (status) {
        //VL6180x_ErrLog("I2C error 0x%x %d len", dev->I2cAddr, len);
        //XNUCLEO6180XA1_I2C1_Init(&hi2c1);
    }
    return status;
}

void VL53L1X_init(void){
	uint8_t 	Rec_Data[2];
	uint8_t 	Trs_Data[2] = {0x01,0x0F};
	VL53L1_Write(Trs_Data, 2);
	VL53L1_Read(Rec_Data,2);

	//HAL_I2C_Mem_Read(&hi2c1, VL53L1_ADDR, Trs_Data, 2, Rec_Data, 2, 1000);
	printf("v1:%i v2:%i\r\n",Rec_Data[0],Rec_Data[1]);
}
*/

/* USER CODE END PFP */

int main(void)
{

  /* MCU Configuration--------------------------------------------------------*/

  /* Reset of all peripherals, Initializes the Flash interface and the Systick. */
  HAL_Init();

  /* Configure the system clock */
  SystemClock_Config();

  /* Initialize all configured peripherals */
  MX_GPIO_Init();
  MX_DMA_Init();
  MX_CAN_Init();
  MX_ADC1_Init();
  MX_USART2_UART_Init();
  MX_TIM2_Init();
  MX_TIM3_Init();
  MX_USART3_UART_Init();
  MX_I2C1_Init();
  /* USER CODE BEGIN 2 */
  HAL_Delay(1000);
  MPU6050_Init();//MPU6050_START
  ReadTF_Luna_init();//tf_luna start
  //VL53L1X_init();//VL53L1X start

  CAN_BUS_init();//setup filter and send a test message

  //HAL_TIM_Base_Start_IT(&htim2);//PPM_IN
  HAL_TIM_IC_Start_IT(&htim2, TIM_CHANNEL_1);
//  HAL_TIM_PWM_Start(&htim2, TIM_CHANNEL_2);
//  HAL_TIM_PWM_Start(&htim2, TIM_CHANNEL_1);
  HAL_TIM_Base_Start_IT(&htim3);//PWM_OUT
  HAL_TIM_PWM_Start(&htim3, TIM_CHANNEL_1);
  HAL_TIM_PWM_Start(&htim3, TIM_CHANNEL_2);
  HAL_TIM_PWM_Start(&htim3, TIM_CHANNEL_3);
  HAL_TIM_PWM_Start(&htim3, TIM_CHANNEL_4);

  HAL_ADC_Start_DMA(&hadc1, adc_reading, 2);
  // if using 3 channels set adc_reading as an array like this -> adc_reading[3];
  //HAL_ADC_Start_DMA(&hadc1, adc_reading, 3);
  joystick_init();//calibration find mid point, this is after ADC DMA initialization

  HAL_UART_Transmit(&huart3, aData, 8, 1000);
  printf("Hello, world!\r\n");
  printf("Hello, world!\r\n");
  printf("Hello, world!\r\n");
  HAL_UART_Transmit(&huart3, aData, 8, 1000);//test uart 3

  //htim2.Instance ->CCR2 = servo_out_midpt;

  /* USER CODE END 2 */

  /* Infinite loop */
  /* USER CODE BEGIN WHILE */
  while (1)
  {

	  //printf("adc0: %i adc1:%i\r\n",adc_reading[0],adc_reading[1]);

	  /*
	  current_time = sys_time_ms;

	  if (hwa_out != 0){
		  hwa_out_zero_time = current_time;
	  }
	  if (current_time - hwa_out_zero_time > 2000){// 2,000 = 2seconds
		  str_over_ride = 0;
	  }else{
		  str_over_ride = 1;
	  }

	  if (current_time - received_0x101_time > 500){// 500 = 0.5second
		  receive_0x101_timeout = 1;
	  }else{
		  receive_0x101_timeout = 0;
	  }
	  */
    /* USER CODE END WHILE */

  }
}

void SystemClock_Config(void)
{
  RCC_OscInitTypeDef RCC_OscInitStruct = {0};
  RCC_ClkInitTypeDef RCC_ClkInitStruct = {0};
  RCC_PeriphCLKInitTypeDef PeriphClkInit = {0};

  /** Initializes the CPU, AHB and APB busses clocks
  */
  RCC_OscInitStruct.OscillatorType = RCC_OSCILLATORTYPE_HSE;
  RCC_OscInitStruct.HSEState = RCC_HSE_ON;
  RCC_OscInitStruct.HSEPredivValue = RCC_HSE_PREDIV_DIV1;
  RCC_OscInitStruct.HSIState = RCC_HSI_ON;
  RCC_OscInitStruct.PLL.PLLState = RCC_PLL_ON;
  RCC_OscInitStruct.PLL.PLLSource = RCC_PLLSOURCE_HSE;
  RCC_OscInitStruct.PLL.PLLMUL = RCC_PLL_MUL9;
  if (HAL_RCC_OscConfig(&RCC_OscInitStruct) != HAL_OK)
  {
	printf("RCC_error_1\n\r");
    Error_Handler();
  }
  /** Initializes the CPU, AHB and APB busses clocks
  */
  RCC_ClkInitStruct.ClockType = RCC_CLOCKTYPE_HCLK|RCC_CLOCKTYPE_SYSCLK
                              |RCC_CLOCKTYPE_PCLK1|RCC_CLOCKTYPE_PCLK2;
  RCC_ClkInitStruct.SYSCLKSource = RCC_SYSCLKSOURCE_PLLCLK;
  RCC_ClkInitStruct.AHBCLKDivider = RCC_SYSCLK_DIV1;
  RCC_ClkInitStruct.APB1CLKDivider = RCC_HCLK_DIV2;
  RCC_ClkInitStruct.APB2CLKDivider = RCC_HCLK_DIV1;

  if (HAL_RCC_ClockConfig(&RCC_ClkInitStruct, FLASH_LATENCY_2) != HAL_OK)
  {
	printf("RCC_error_2\n\r");
    Error_Handler();
  }
  PeriphClkInit.PeriphClockSelection = RCC_PERIPHCLK_ADC;
  PeriphClkInit.AdcClockSelection = RCC_ADCPCLK2_DIV6;
  if (HAL_RCCEx_PeriphCLKConfig(&PeriphClkInit) != HAL_OK)
  {
	printf("RCC_error_3\n\r");
    Error_Handler();
  }
}

static void MX_ADC1_Init(void)
{

  ADC_ChannelConfTypeDef sConfig = {0};

  /** Common config
  */
  hadc1.Instance = ADC1;
  hadc1.Init.ScanConvMode = ADC_SCAN_ENABLE;
  hadc1.Init.ContinuousConvMode = ENABLE;
  hadc1.Init.DiscontinuousConvMode = DISABLE;
  hadc1.Init.ExternalTrigConv = ADC_SOFTWARE_START;
  hadc1.Init.DataAlign = ADC_DATAALIGN_RIGHT;
  hadc1.Init.NbrOfConversion = 2;
  if (HAL_ADC_Init(&hadc1) != HAL_OK)
  {
	printf("ADC_error_1\n\r");
    Error_Handler();
  }
  /** Configure Regular Channel
  */
  sConfig.Channel = ADC_CHANNEL_4;
  sConfig.Rank = ADC_REGULAR_RANK_1;
  sConfig.SamplingTime = ADC_SAMPLETIME_71CYCLES_5;
  if (HAL_ADC_ConfigChannel(&hadc1, &sConfig) != HAL_OK)
  {
	printf("ADC_error_2\n\r");
    Error_Handler();
  }
  /** Configure Regular Channel
  */
  sConfig.Channel = ADC_CHANNEL_5;
  sConfig.Rank = ADC_REGULAR_RANK_2;
  if (HAL_ADC_ConfigChannel(&hadc1, &sConfig) != HAL_OK)
  {
	  printf("ADC_error_3\n\r");
    Error_Handler();
  }

}

static void MX_CAN_Init(void)
{

  hcan.Instance = CAN1;
  hcan.Init.Prescaler = 6;
  hcan.Init.Mode = CAN_MODE_NORMAL;
  hcan.Init.SyncJumpWidth = CAN_SJW_1TQ;
  hcan.Init.TimeSeg1 = CAN_BS1_5TQ;
  hcan.Init.TimeSeg2 = CAN_BS2_6TQ;
  hcan.Init.TimeTriggeredMode = DISABLE;
  hcan.Init.AutoBusOff = DISABLE;
  hcan.Init.AutoWakeUp = DISABLE;
  hcan.Init.AutoRetransmission = DISABLE;
  hcan.Init.ReceiveFifoLocked = DISABLE;
  hcan.Init.TransmitFifoPriority = DISABLE;
  if (HAL_CAN_Init(&hcan) != HAL_OK)
  {
	  printf("CAN_error_1\n\r");
    Error_Handler();
  }

}

static void MX_I2C1_Init(void)
{

  hi2c1.Instance = I2C1;
  hi2c1.Init.ClockSpeed = 400000;
  hi2c1.Init.DutyCycle = I2C_DUTYCYCLE_2;
  hi2c1.Init.OwnAddress1 = 0;
  hi2c1.Init.AddressingMode = I2C_ADDRESSINGMODE_7BIT;
  hi2c1.Init.DualAddressMode = I2C_DUALADDRESS_DISABLE;
  hi2c1.Init.OwnAddress2 = 0;
  hi2c1.Init.GeneralCallMode = I2C_GENERALCALL_DISABLE;
  hi2c1.Init.NoStretchMode = I2C_NOSTRETCH_DISABLE;
  if (HAL_I2C_Init(&hi2c1) != HAL_OK)
  {
	  printf("I2C_err_1\n\r");
    Error_Handler();
  }

}

static void MX_TIM2_Init(void)
{

  TIM_ClockConfigTypeDef sClockSourceConfig = {0};
  TIM_MasterConfigTypeDef sMasterConfig = {0};
  TIM_IC_InitTypeDef sConfigIC = {0};

  htim2.Instance = TIM2;
  htim2.Init.Prescaler = 72-1;
  htim2.Init.CounterMode = TIM_COUNTERMODE_UP;
  htim2.Init.Period = 0xffff;
  htim2.Init.ClockDivision = TIM_CLOCKDIVISION_DIV1;
  htim2.Init.AutoReloadPreload = TIM_AUTORELOAD_PRELOAD_DISABLE;
  if (HAL_TIM_Base_Init(&htim2) != HAL_OK)
  {
	  printf("TIM2_err_1\n\r");
    Error_Handler();
  }
  sClockSourceConfig.ClockSource = TIM_CLOCKSOURCE_INTERNAL;
  if (HAL_TIM_ConfigClockSource(&htim2, &sClockSourceConfig) != HAL_OK)
  {
	  printf("TIM2_err_2\n\r");
    Error_Handler();
  }
  if (HAL_TIM_IC_Init(&htim2) != HAL_OK)
  {
	  printf("TIM2_err_3\n\r");
    Error_Handler();
  }
  sMasterConfig.MasterOutputTrigger = TIM_TRGO_RESET;
  sMasterConfig.MasterSlaveMode = TIM_MASTERSLAVEMODE_DISABLE;
  if (HAL_TIMEx_MasterConfigSynchronization(&htim2, &sMasterConfig) != HAL_OK)
  {
	  printf("TIM2_err_4\n\r");
    Error_Handler();
  }
  sConfigIC.ICPolarity = TIM_INPUTCHANNELPOLARITY_RISING;
  sConfigIC.ICSelection = TIM_ICSELECTION_DIRECTTI;
  sConfigIC.ICPrescaler = TIM_ICPSC_DIV1;
  sConfigIC.ICFilter = 0;
  if (HAL_TIM_IC_ConfigChannel(&htim2, &sConfigIC, TIM_CHANNEL_1) != HAL_OK)
  {
	  printf("TIM2_err_5\n\r");
    Error_Handler();
  }

}

static void MX_TIM3_Init(void)
{

  TIM_ClockConfigTypeDef sClockSourceConfig = {0};
  TIM_MasterConfigTypeDef sMasterConfig = {0};
  TIM_OC_InitTypeDef sConfigOC = {0};

  htim3.Instance = TIM3;
  htim3.Init.Prescaler = 72-1;
  htim3.Init.CounterMode = TIM_COUNTERMODE_UP;
  htim3.Init.Period = 5000-1;//main timer cycle interrupt 10000-1 100hz 5000-1 200hz
  htim3.Init.ClockDivision = TIM_CLOCKDIVISION_DIV1;
  htim3.Init.AutoReloadPreload = TIM_AUTORELOAD_PRELOAD_DISABLE;
  if (HAL_TIM_Base_Init(&htim3) != HAL_OK)
  {
	  printf("TIM3_err_1\n\r");
    Error_Handler();
  }
  sClockSourceConfig.ClockSource = TIM_CLOCKSOURCE_INTERNAL;
  if (HAL_TIM_ConfigClockSource(&htim3, &sClockSourceConfig) != HAL_OK)
  {
	  printf("TIM3_err_2\n\r");
    Error_Handler();
  }
  if (HAL_TIM_PWM_Init(&htim3) != HAL_OK)
  {
	  printf("TIM3_err_3\n\r");
    Error_Handler();
  }
  sMasterConfig.MasterOutputTrigger = TIM_TRGO_RESET;
  sMasterConfig.MasterSlaveMode = TIM_MASTERSLAVEMODE_DISABLE;
  if (HAL_TIMEx_MasterConfigSynchronization(&htim3, &sMasterConfig) != HAL_OK)
  {
	  printf("TIM3_err_4\n\r");
    Error_Handler();
  }
  sConfigOC.OCMode = TIM_OCMODE_PWM1;
  sConfigOC.Pulse = 1000;
  sConfigOC.OCPolarity = TIM_OCPOLARITY_HIGH;
  sConfigOC.OCFastMode = TIM_OCFAST_DISABLE;
  if (HAL_TIM_PWM_ConfigChannel(&htim3, &sConfigOC, TIM_CHANNEL_1) != HAL_OK)
  {
	  printf("TIM3_err_5\n\r");
    Error_Handler();
  }
  if (HAL_TIM_PWM_ConfigChannel(&htim3, &sConfigOC, TIM_CHANNEL_2) != HAL_OK)
  {
	  printf("TIM3_err_6\n\r");
    Error_Handler();
  }
  sConfigOC.Pulse = 1000;
  if (HAL_TIM_PWM_ConfigChannel(&htim3, &sConfigOC, TIM_CHANNEL_3) != HAL_OK)
  {
	  printf("TIM3_err_7\n\r");
    Error_Handler();
  }
  if (HAL_TIM_PWM_ConfigChannel(&htim3, &sConfigOC, TIM_CHANNEL_4) != HAL_OK)
  {
	  printf("TIM3_err_8\n\r");
    Error_Handler();
  }
  HAL_TIM_MspPostInit(&htim3);

}

static void MX_USART2_UART_Init(void)
{

  huart2.Instance = USART2;
  huart2.Init.BaudRate = 115200;
  huart2.Init.WordLength = UART_WORDLENGTH_8B;
  huart2.Init.StopBits = UART_STOPBITS_1;
  huart2.Init.Parity = UART_PARITY_NONE;
  huart2.Init.Mode = UART_MODE_TX_RX;
  huart2.Init.HwFlowCtl = UART_HWCONTROL_NONE;
  huart2.Init.OverSampling = UART_OVERSAMPLING_16;
  if (HAL_UART_Init(&huart2) != HAL_OK)
  {
	  printf("UART2_err_1\n\r");
    Error_Handler();
  }

}

static void MX_USART3_UART_Init(void)
{

  huart3.Instance = USART3;
  huart3.Init.BaudRate = 2000000;
  huart3.Init.WordLength = UART_WORDLENGTH_8B;
  huart3.Init.StopBits = UART_STOPBITS_1;
  huart3.Init.Parity = UART_PARITY_NONE;
  huart3.Init.Mode = UART_MODE_TX_RX;
  huart3.Init.HwFlowCtl = UART_HWCONTROL_NONE;
  huart3.Init.OverSampling = UART_OVERSAMPLING_16;
  if (HAL_UART_Init(&huart3) != HAL_OK)
  {
	  printf("UART3_err_1\n\r");
    Error_Handler();
  }

}

static void MX_DMA_Init(void)
{

  /* DMA controller clock enable */
  __HAL_RCC_DMA1_CLK_ENABLE();

  /* DMA interrupt init */
  /* DMA1_Channel1_IRQn interrupt configuration */
  HAL_NVIC_SetPriority(DMA1_Channel1_IRQn, 0, 0);
  HAL_NVIC_EnableIRQ(DMA1_Channel1_IRQn);

}

static void MX_GPIO_Init(void)
{

  /* GPIO Ports Clock Enable */
  __HAL_RCC_GPIOD_CLK_ENABLE();
  __HAL_RCC_GPIOA_CLK_ENABLE();
  __HAL_RCC_GPIOB_CLK_ENABLE();

}

/* USER CODE BEGIN 4 */
//void HAL_TIM_PeriodElapsedCallback(TIM_HandleTypeDef *htim){
void HAL_TIM_PeriodElapsedCallback(TIM_HandleTypeDef *htim3){//TIME_INTERRUPT

  	sys_time_up ++;
 	sys_time_ms = sys_time_up * 5;
 	//Read_joystick();
 	if (tf_luna_ini == 1){
 		if (sys_time_ms%dist_measure_devider == 0)
 			ReadTF_Luna();
 	}

 	if (mpu6050_ini == 1){
 		MPU6050_Read_Accel();
 		MPU6050_Read_Gyro();
 		Gx -= Gyro_X_CAL;
 		Gy -= Gyro_Y_CAL;
 		Gz -= Gyro_Z_CAL;
 		// times delta time and convert to rad
 		Gx_rad = Gx * 0.0001745329;
 		Gy_rad = Gy * 0.0001745329;
 		Gz_rad = Gz * 0.0001745329;
 		//pitch_a = -atan2(Ax,Az)*57.2957795;
 		//roll_a = atan2(Ay,Az)*57.2957795;
 		pitch_a_rad = -atan(Ax/sqrt(Az*Az + Ay*Ay));
 		roll_a_rad = atan(Ay/sqrt(Az*Az + Ax*Ax));
 		//pitch_a_rad = -atan2(Ax,Az);
 		//roll_a_rad = atan2(Ay,Az);

 		cos_roll = cos(roll_est_rad);
 		sin_roll = sin(roll_est_rad);
 		cos_pitch = cos(pitch_est_rad);
 		sin_pitch = sin(pitch_est_rad);

// 		yaw_est += cos(roll_est*0.01745329)*cos(pitch_est*0.01745329)*Gz*0.01;
// 		yaw_est += sin(roll_est*0.01745329)*Gy*0.01;
// 		yaw_est -= sin(pitch_est*0.01745329)*Gx*0.01;

 		yaw_est_rad +=  cos_roll*cos_pitch*Gz_rad + sin_roll*Gy_rad - sin_pitch*Gx_rad;
 		roll_est_rad += cos_pitch*Gx_rad + sin_pitch*Gz_rad;
 		pitch_est_rad += cos_roll*Gy_rad -sin_roll*Gz_rad;

 		if (yaw_est_rad > 3.14159265358979)
			yaw_est_rad -= 6.28318530717959;
 		if (yaw_est_rad < -3.14159265358979)
			yaw_est_rad += 6.28318530717959;

// 		pitch_est += cos(roll_est*0.01745329)*Gy*0.01;
// 		roll_est += cos(pitch_est*0.01745329)*Gx*0.01;

// 		pitch_est += -sin(roll_est*0.01745329)*Gz*0.01;//0.01*0.01745329);
// 		roll_est += sin(pitch_est*0.01745329)*Gz*0.01;//0.01*0.01745329);

 		pitch_ino = pitch_a_rad - pitch_est_rad;
 		pitch_est_rad += pitch_ino*0.005;

 		roll_ino = roll_a_rad - roll_est_rad;
 		roll_est_rad += roll_ino*0.005;

 		pitch_est = pitch_est_rad*rad2deg;
 		roll_est = roll_est_rad*rad2deg;
 		yaw_est = yaw_est_rad*rad2deg;

 		//printf("Pa:%.2f Ra:%.2f\r\n",pitch_a_rad*rad2deg, roll_a_rad*rad2deg);
 		//printf("Pe:%.2f Re:%.2f Ye:%.2f\r\n",pitch_est, roll_est, yaw_est);
 		//printf("Ax:%.3f Gx:%.3f\r\n", Ax, Gx);
 		//printf("PA:%.3f RA:%.3f GY:%.3f GX:%.3f\r\n",pitch_a,roll_a,Gy,Gx);
 		//printf("PE:%.2f RE:%.2f\r\n", pitch_est, roll_est);
 		//printf("%.3f %.3f %.3f %.3f %.3f %.3f\r\n",Ax,Ay,Az,Gx,Gy,Gz);
 		//printf("%i %i %i %i %i %i\r\n",Accel_X_RAW,Accel_Y_RAW,Accel_Z_RAW,Gyro_X_RAW,Gyro_Y_RAW,Gyro_Z_RAW);
 	}

 	Drone_Control_quad();
}

/* USER CODE END 4 */

void Error_Handler(void)
{
  /* USER CODE BEGIN Error_Handler_Debug */
  /* User can add his own implementation to report the HAL error return state */
	//printf(error_code);
  /* USER CODE END Error_Handler_Debug */
}

/************************ (C) COPYRIGHT STMicroelectronics *****END OF FILE****/
